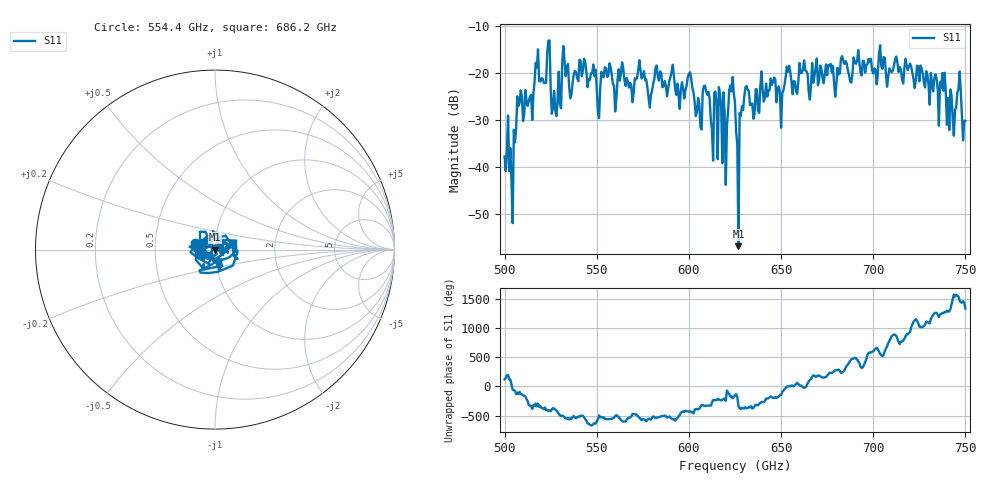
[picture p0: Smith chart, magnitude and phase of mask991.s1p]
!Created with skrf (http://scikit-rf.org).
# GHz S MA R 50.0
!freq magS11 angS11
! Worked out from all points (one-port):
!   401 points, 500 GHz to 750 GHz, reference 50 ohm
!   lowest |S11| = -56.8 dB at 626.9 GHz (marker M1), VSWR 1.00, Z = 50.1 + j0.0551 ohm
!   |S11| at or under -10 dB: start of sweep to end of sweep
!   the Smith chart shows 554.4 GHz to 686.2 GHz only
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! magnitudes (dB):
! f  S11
! 500 GHz  -37.7
! 503.8 GHz  -43.0
! 508.1 GHz  -26.4
! 513.8 GHz  -25.0
! 517.5 GHz  -18.8
! 523.8 GHz  -13.1
! 526.9 GHz  -23.8
! 531.2 GHz  -17.9
! 542.5 GHz  -19.4
! 551.2 GHz  -29.6
! 562.5 GHz  -21.6
! 593.8 GHz  -22.2
! 600.6 GHz  -19.8
! 605.6 GHz  -26.5
! 609.4 GHz  -23.9
! 619.4 GHz  -28.5
! 623.1 GHz  -23.9
! 625 GHz  -26.3
! 625.6 GHz  -32.4
! 626.9 GHz  -56.8
! 631.2 GHz  -22.7
! 656.2 GHz  -24.5
! 687.5 GHz  -21.9
! 718.8 GHz  -19.4
! 737.5 GHz  -20.0
! 742.5 GHz  -24.9
! 746.2 GHz  -23.4
! 750 GHz  -30.2
